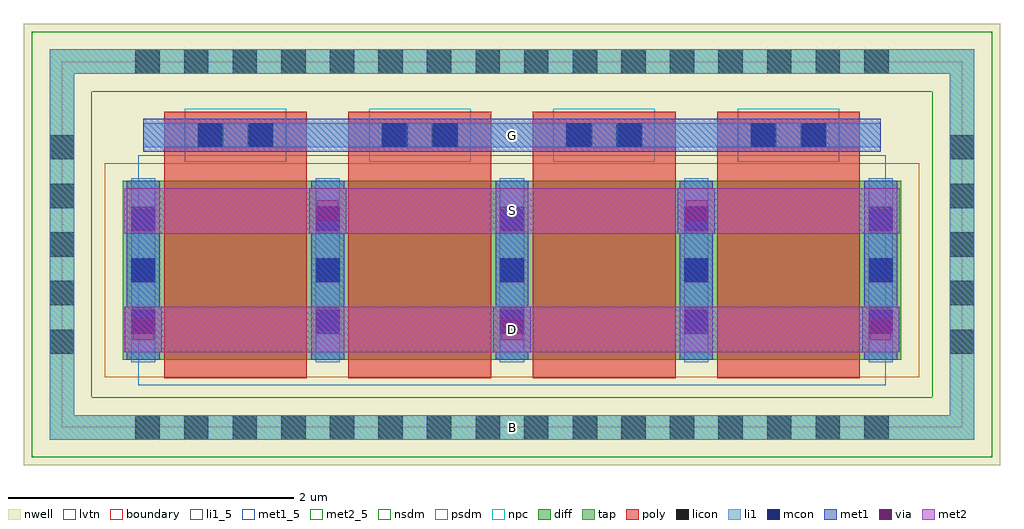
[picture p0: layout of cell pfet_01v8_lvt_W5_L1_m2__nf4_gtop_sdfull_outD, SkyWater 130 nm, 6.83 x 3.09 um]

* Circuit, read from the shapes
.subckt pfet_01v8_lvt_W5_L1_m2__nf4_gtop_sdfull_outD B D G S
XM1 S G D B sky130_fd_pr__pfet_01v8_lvt w=1.25 l=1 m=4
.ends

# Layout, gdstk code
import gdstk
lib = gdstk.Library(unit=1e-6, precision=1e-09)
def R(c, l, rs):  # rectangles x0, y0, x1, y1
    for r in rs: c.add(gdstk.rectangle(r[:2], r[2:], *l))
def A(c, l, x, y, w, h, nx, ny, dx, dy):  # array of equal rectangles
    R(c, l, [(x+i*dx, y+j*dy, x+i*dx+w, y+j*dy+h) for i in range(nx) for j in range(ny)])
nwell = (64, 20)
diff = (65, 20)
tap = (65, 44)
poly = (66, 20)
licon = (66, 44)
li1_5 = (67, 5)
li1 = (67, 20)
mcon = (67, 44)
met1_5 = (68, 5)
met1 = (68, 20)
via = (68, 44)
met2_5 = (69, 5)
met2 = (69, 20)
nsdm = (93, 44)
psdm = (94, 20)
npc = (95, 20)
lvtn = (125, 44)
boundary = (235, 4)

sky130_fd_pr__pfet_01v8_ = lib.new_cell('sky130_fd_pr__pfet_01v8_lvt_FZ859V')
R(sky130_fd_pr__pfet_01v8_, nwell, [(-3.415,-1.545,3.415,1.545)])
R(sky130_fd_pr__pfet_01v8_, diff, [(-2.725,-0.805,2.725,0.445)])
R(sky130_fd_pr__pfet_01v8_, tap, [(-3.235,-1.365,3.235,-1.195), (-3.235,-1.195,-3.065,1.195), (3.065,-1.195,3.235,1.195), (-3.235,1.195,3.235,1.365)])
A(sky130_fd_pr__pfet_01v8_, poly, -2.435, -0.935, 1, 1.865, 4, 1, 1.29, 0)
A(sky130_fd_pr__pfet_01v8_, licon, -2.635, -1.365, 0.17, 0.17, 16, 2, 0.34, 2.56)
A(sky130_fd_pr__pfet_01v8_, licon, -3.235, -0.765, 0.17, 0.17, 1, 5, 0, 0.34)
A(sky130_fd_pr__pfet_01v8_, licon, 3.065, -0.765, 0.17, 0.17, 1, 5, 0, 0.34)
A(sky130_fd_pr__pfet_01v8_, licon, -2.665, -0.605, 0.17, 0.17, 5, 3, 1.29, 0.34)
R(sky130_fd_pr__pfet_01v8_, licon, [(-2.19,0.68,-2.02,0.85), (-1.85,0.68,-1.68,0.85), (-0.9,0.68,-0.73,0.85), (-0.56,0.68,-0.39,0.85), (0.39,0.68,0.56,0.85), (0.73,0.68,0.9,0.85), (1.68,0.68,1.85,0.85), (2.02,0.68,2.19,0.85)])
A(sky130_fd_pr__pfet_01v8_, li1, -2.665, -0.825, 0.17, 1.29, 5, 1, 1.29, 0)
R(sky130_fd_pr__pfet_01v8_, li1, [(-3.235,-1.365,3.235,-1.195), (-3.235,-1.195,-3.065,1.195), (3.065,-1.195,3.235,1.195), (-2.58,0.68,2.58,0.85), (-3.235,1.195,3.235,1.365)])
A(sky130_fd_pr__pfet_01v8_, mcon, -2.665, -0.625, 0.17, 0.17, 5, 3, 1.29, 0.36)
R(sky130_fd_pr__pfet_01v8_, mcon, [(-2.2,0.68,-2.03,0.85), (-1.84,0.68,-1.67,0.85), (-0.91,0.68,-0.74,0.85), (-0.55,0.68,-0.38,0.85), (0.38,0.68,0.55,0.85), (0.74,0.68,0.91,0.85), (1.67,0.68,1.84,0.85), (2.03,0.68,2.2,0.85)])
A(sky130_fd_pr__pfet_01v8_, met1, -2.695, -0.805, 0.23, 1.25, 5, 1, 1.29, 0)
A(sky130_fd_pr__pfet_01v8_, met1, -2.415, 0.65, 0.96, 0.03, 4, 2, 1.29, 0.2)
R(sky130_fd_pr__pfet_01v8_, met1, [(-2.58,0.68,2.58,0.85)])
R(sky130_fd_pr__pfet_01v8_, nsdm, [(-3.36,-1.49,3.36,-1.07), (-3.36,-1.07,-2.94,1.07), (2.94,-1.07,3.36,1.07), (-3.36,1.07,3.36,1.49)])
R(sky130_fd_pr__pfet_01v8_, psdm, [(-2.85,-0.93,2.85,0.57)])
A(sky130_fd_pr__pfet_01v8_, npc, -2.29, 0.58, 0.71, 0.37, 4, 1, 1.29, 0)
R(sky130_fd_pr__pfet_01v8_, lvtn, [(-2.615,-0.985,2.615,0.625)])
R(sky130_fd_pr__pfet_01v8_, boundary, [(-3.15,-1.28,3.15,1.28)])
sky130_fd_pr__pfet_01v8_.add(gdstk.Label('B', (0,-1.28), layer=67, texttype=5))
sky130_fd_pr__pfet_01v8_.add(gdstk.Label('D0', (-2.58,-0.18), layer=67, texttype=5))
sky130_fd_pr__pfet_01v8_.add(gdstk.Label('G', (1.935,0.765), layer=67, texttype=5))
sky130_fd_pr__pfet_01v8_.add(gdstk.Label('G', (0.645,0.765), layer=67, texttype=5))
sky130_fd_pr__pfet_01v8_.add(gdstk.Label('G', (-0.645,0.765), layer=67, texttype=5))
sky130_fd_pr__pfet_01v8_.add(gdstk.Label('G', (-1.935,0.765), layer=67, texttype=5))
sky130_fd_pr__pfet_01v8_.add(gdstk.Label('S1', (-1.29,-0.18), layer=67, texttype=5))
sky130_fd_pr__pfet_01v8_.add(gdstk.Label('D2', (0,-0.18), layer=67, texttype=5))
sky130_fd_pr__pfet_01v8_.add(gdstk.Label('S3', (1.29,-0.18), layer=67, texttype=5))

pfet_01v8_lvt_w5_l1_m2__ = lib.new_cell('pfet_01v8_lvt_W5_L1_m2__nf4_gtop_sdfull_outD')
R(pfet_01v8_lvt_w5_l1_m2__, li1_5, [(3.065,-0.085,3.235,0.085)])
R(pfet_01v8_lvt_w5_l1_m2__, li1, [(3.065,-0.085,3.235,0.085)])
R(pfet_01v8_lvt_w5_l1_m2__, met1_5, [(0.57,1.93,5.73,2.16)])
A(pfet_01v8_lvt_w5_l1_m2__, met1, 0.44, 0.525, 0.26, 0.32, 3, 1, 2.58, 0)
R(pfet_01v8_lvt_w5_l1_m2__, met1, [(1.73,1.355,1.99,1.675), (4.31,1.355,4.57,1.675), (0.57,1.93,5.73,2.16)])
A(pfet_01v8_lvt_w5_l1_m2__, via, 0.495, 0.61, 0.15, 0.15, 3, 1, 2.58, 0)
R(pfet_01v8_lvt_w5_l1_m2__, via, [(1.785,1.44,1.935,1.59), (4.365,1.44,4.515,1.59)])
R(pfet_01v8_lvt_w5_l1_m2__, met2_5, [(0.435,0.525,5.865,0.845), (0.435,1.355,5.865,1.675)])
R(pfet_01v8_lvt_w5_l1_m2__, met2, [(0.435,0.525,5.865,0.845), (0.435,1.355,5.865,1.675)])
pfet_01v8_lvt_w5_l1_m2__.add(gdstk.Reference(sky130_fd_pr__pfet_01v8_, (3.15,1.28)))
pfet_01v8_lvt_w5_l1_m2__.add(gdstk.Label('S', (3.15,1.515), layer=69, texttype=5))
pfet_01v8_lvt_w5_l1_m2__.add(gdstk.Label('D', (3.15,0.685), layer=69, texttype=5))
pfet_01v8_lvt_w5_l1_m2__.add(gdstk.Label('G', (3.15,2.045), layer=68, texttype=5))
pfet_01v8_lvt_w5_l1_m2__.add(gdstk.Label('B', (3.15,0), layer=67, texttype=5))

lib.write_gds('pfet_01v8_lvt_W5_L1_m2__nf4_gtop_sdfull_outD.gds')
